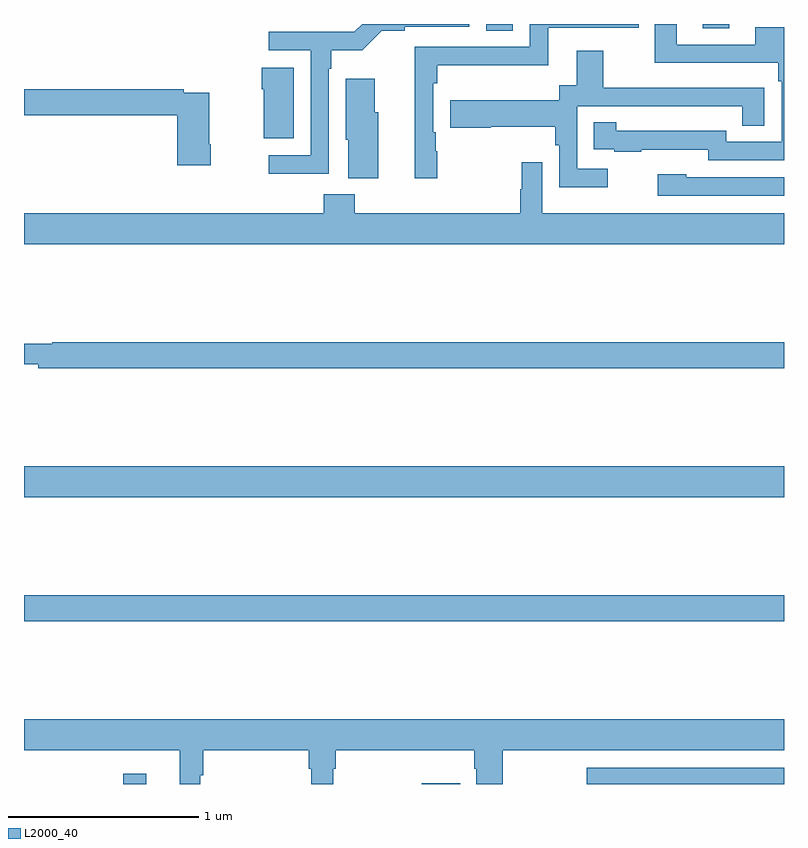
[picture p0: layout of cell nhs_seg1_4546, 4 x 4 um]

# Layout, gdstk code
import gdstk
lib = gdstk.Library(unit=1e-6, precision=1e-09)
def R(c, l, rs):  # rectangles x0, y0, x1, y1
    for r in rs: c.add(gdstk.rectangle(r[:2], r[2:], *l))
def P(c, l, *ps):  # polygons
    for p in ps: c.add(gdstk.Polygon(p, *l))
L2000_40 = (2000, 40)

nhs_seg1_4546 = lib.new_cell('nhs_seg1_4546')
R(nhs_seg1_4546, L2000_40, [(357.522,574.199,357.643,574.252), (359.094,574.199,359.296,574.204), (359.962,574.199,361,574.284), (357,575.056,361,575.192), (357,575.708,361,575.872), (359.432,578.164,359.572,578.199), (360.572,578.176,360.712,578.199)])
P(nhs_seg1_4546, L2000_40, [(359.175,577.53),(359.166,577.53),(359.166,577.63),(359.154,577.63),(359.154,577.886),(359.174,577.886),(359.174,577.982),(359.758,577.982),(359.758,578.18),(360.235,578.18),(360.235,578.199),(359.661,578.199),(359.661,578.079),(359.057,578.079),(359.057,577.386),(359.175,577.386)],
  [(361,578.182),(360.848,578.182),(360.848,578.091),(360.436,578.091),(360.436,578.199),(360.32,578.199),(360.32,577.994),(360.97,577.994),(360.97,577.898),(360.987,577.898),(360.987,577.578),(360.696,577.578),(360.696,577.636),(360.117,577.636),(360.117,577.682),(359.998,577.682),(359.998,577.539),(360.106,577.539),(360.106,577.527),(360.248,577.527),(360.248,577.538),(360.6,577.538),(360.6,577.482),(361,577.482)],
  [(358.605,577.964),(358.618,577.964),(358.618,578.06),(358.78,578.06),(358.884,578.164),(359.005,578.164),(359.005,578.184),(359.344,578.184),(359.344,578.199),(358.781,578.199),(358.739,578.157),(358.512,578.157),(358.512,578.159),(358.287,578.159),(358.287,578.061),(358.509,578.061),(358.509,577.509),(358.287,577.509),(358.287,577.412),(358.605,577.412)],
  [(360.073,577.437),(359.913,577.437),(359.913,577.767),(360.145,577.767),(360.145,577.766),(360.781,577.766),(360.781,577.663),(360.896,577.663),(360.896,577.863),(360.794,577.863),(360.794,577.864),(360.049,577.864),(360.049,578.059),(359.909,578.059),(359.909,577.876),(359.817,577.876),(359.817,577.798),(359.244,577.798),(359.244,577.654),(359.456,577.654),(359.456,577.658),(359.797,577.658),(359.797,577.562),(359.817,577.562),(359.817,577.34),(360.073,577.34)],
  [(358.42,577.969),(358.25,577.969),(358.25,577.856),(358.262,577.856),(358.262,577.598),(358.42,577.598)],
  [(358.864,577.734),(358.846,577.734),(358.846,577.912),(358.694,577.912),(358.694,577.59),(358.706,577.59),(358.706,577.388),(358.864,577.388)],
  [(357.984,577.567),(357.976,577.567),(357.976,577.836),(357.842,577.836),(357.842,577.856),(357,577.856),(357,577.72),(357.806,577.72),(357.806,577.455),(357.984,577.455)],
  [(361,577.204),(359.727,577.204),(359.727,577.471),(359.619,577.471),(359.619,577.329),(359.611,577.329),(359.611,577.204),(358.742,577.204),(358.742,577.303),(358.577,577.303),(358.577,577.204),(357,577.204),(357,577.04),(361,577.04)],
  [(361,577.392),(360.486,577.392),(360.486,577.408),(360.336,577.408),(360.336,577.296),(361,577.296)],
  [(361,576.524),(357.149,576.524),(357.149,576.517),(357,576.517),(357,576.407),(357.076,576.407),(357.076,576.388),(361,576.388)],
  [(357.928,574.244),(357.943,574.244),(357.943,574.376),(358.499,574.376),(358.499,574.28),(358.511,574.28),(358.511,574.199),(358.627,574.199),(358.627,574.28),(358.64,574.28),(358.64,574.376),(359.369,574.376),(359.369,574.28),(359.381,574.28),(359.381,574.199),(359.521,574.199),(359.521,574.376),(361,574.376),(361,574.54),(357,574.54),(357,574.376),(357.821,574.376),(357.821,574.199),(357.928,574.199)])

lib.write_gds('nhs_seg1_4546.gds')
